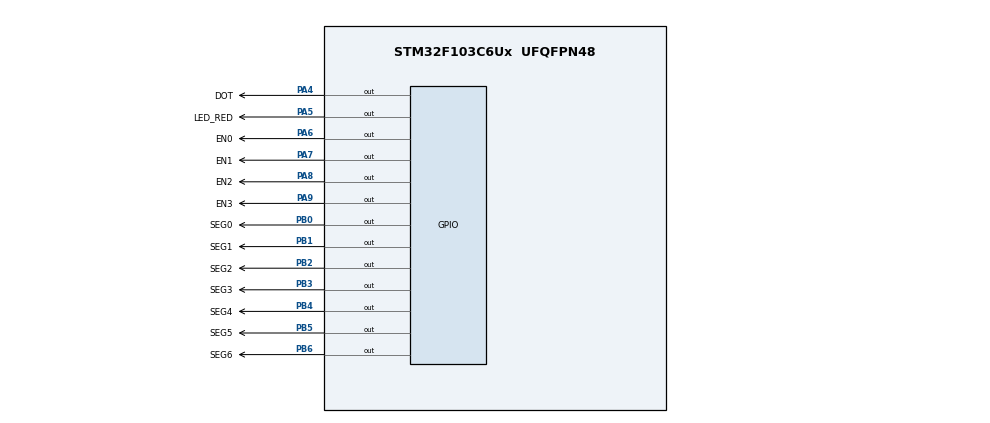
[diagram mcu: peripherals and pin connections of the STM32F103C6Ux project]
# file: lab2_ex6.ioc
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Mcu.Family=STM32F1
Mcu.Name=STM32F103C6Ux
Mcu.Package=UFQFPN48
NVIC.PriorityGroup=NVIC_PRIORITYGROUP_4
NVIC.TIM2_IRQn=true\:0\:0\:false\:false\:true\:true\:true
PA4.GPIO_Label=DOT
PA4.Signal=GPIO_Output
PA5.GPIO_Label=LED_RED
PA5.Signal=GPIO_Output
PA6.GPIO_Label=EN0
PA6.Signal=GPIO_Output
PA7.GPIO_Label=EN1
PA7.Signal=GPIO_Output
PA8.GPIO_Label=EN2
PA8.Signal=GPIO_Output
PA9.GPIO_Label=EN3
PA9.Signal=GPIO_Output
PB0.GPIO_Label=SEG0
PB0.Signal=GPIO_Output
PB1.GPIO_Label=SEG1
PB1.Signal=GPIO_Output
PB2.GPIO_Label=SEG2
PB2.Signal=GPIO_Output
PB3.GPIO_Label=SEG3
PB3.Signal=GPIO_Output
PB4.GPIO_Label=SEG4
PB4.Signal=GPIO_Output
PB5.GPIO_Label=SEG5
PB5.Signal=GPIO_Output
PB6.GPIO_Label=SEG6
PB6.Signal=GPIO_Output
ProjectManager.HeapSize=0x200
ProjectManager.StackSize=0x400
ProjectManager.TargetToolchain=STM32CubeIDE
RCC.APB1Freq_Value=8000000
RCC.APB2Freq_Value=8000000
TIM2.Period=9
TIM2.Prescaler=7999
VP_SYS_VS_ND.Mode=No_Debug
VP_TIM2_VS_ClockSourceINT.Mode=Internal
board=custom

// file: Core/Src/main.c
/* USER CODE BEGIN Header */
/**
  ******************************************************************************
  * @file           : main.c
  * @brief          : Main program body
  ******************************************************************************
  * @attention
  *
  * <h2><center>&copy; Copyright (c) 2023 STMicroelectronics.
  * All rights reserved.</center></h2>
  *
  * This software component is licensed by ST under BSD 3-Clause license,
  * the "License"; You may not use this file except in compliance with the
  * License. You may obtain a copy of the License at:
  *                        opensource.org/licenses/BSD-3-Clause
  *
  ******************************************************************************
  */
/* USER CODE END Header */
#include "main.h"

TIM_HandleTypeDef htim2;

void SystemClock_Config(void);
static void MX_GPIO_Init(void);
static void MX_TIM2_Init(void);

/* USER CODE BEGIN 0 */
void display7SEG(int num){
	  HAL_GPIO_WritePin(SEG0_GPIO_Port, SEG0_Pin, RESET);
	  HAL_GPIO_WritePin(SEG1_GPIO_Port, SEG1_Pin, RESET);
	  HAL_GPIO_WritePin(SEG2_GPIO_Port, SEG2_Pin, RESET);
	  HAL_GPIO_WritePin(SEG3_GPIO_Port, SEG3_Pin, RESET);
	  HAL_GPIO_WritePin(SEG4_GPIO_Port, SEG4_Pin, RESET);
	  HAL_GPIO_WritePin(SEG5_GPIO_Port, SEG5_Pin, RESET);
	  HAL_GPIO_WritePin(SEG6_GPIO_Port, SEG6_Pin, RESET);
	  if (num == 0 ){
		  HAL_GPIO_WritePin(SEG6_GPIO_Port, SEG6_Pin, SET);
	  }
	  else if (num == 1){
		  HAL_GPIO_WritePin(SEG0_GPIO_Port, SEG0_Pin, SET);
		  HAL_GPIO_WritePin(SEG3_GPIO_Port, SEG3_Pin, SET);
		  HAL_GPIO_WritePin(SEG4_GPIO_Port, SEG4_Pin, SET);
		  HAL_GPIO_WritePin(SEG5_GPIO_Port, SEG5_Pin, SET);
		  HAL_GPIO_WritePin(SEG6_GPIO_Port, SEG6_Pin, SET);
	  }
	  else if (num == 2){
		  HAL_GPIO_WritePin(SEG2_GPIO_Port, SEG2_Pin, SET);
		  HAL_GPIO_WritePin(SEG5_GPIO_Port, SEG5_Pin, SET);
	  }
	  else if (num == 3){
		  HAL_GPIO_WritePin(SEG4_GPIO_Port, SEG4_Pin, SET);
		  HAL_GPIO_WritePin(SEG5_GPIO_Port, SEG5_Pin, SET);
	  }
	  else if (num == 4){
		  HAL_GPIO_WritePin(SEG0_GPIO_Port, SEG0_Pin, SET);
		  HAL_GPIO_WritePin(SEG3_GPIO_Port, SEG3_Pin, SET);
		  HAL_GPIO_WritePin(SEG4_GPIO_Port, SEG4_Pin, SET);
	  }
	  else if (num == 5){
		  HAL_GPIO_WritePin(SEG1_GPIO_Port, SEG1_Pin, SET);
		  HAL_GPIO_WritePin(SEG4_GPIO_Port, SEG4_Pin, SET);
	  }
	  else if (num == 6){
		  HAL_GPIO_WritePin(SEG1_GPIO_Port, SEG1_Pin, SET);
	  }
	  else if (num == 7){
		  HAL_GPIO_WritePin(SEG3_GPIO_Port, SEG3_Pin, SET);
		  HAL_GPIO_WritePin(SEG4_GPIO_Port, SEG4_Pin, SET);
		  HAL_GPIO_WritePin(SEG5_GPIO_Port, SEG5_Pin, SET);
		  HAL_GPIO_WritePin(SEG6_GPIO_Port, SEG6_Pin, SET);
	  }
	  else if (num == 8){

	  }
	  else if (num == 9){
		  HAL_GPIO_WritePin(SEG4_GPIO_Port, SEG4_Pin, SET);
	  }
  }
//
const int MAX_LED = 4;
int index_led = 0;
int led_buffer[4] = {1 , 2 , 3 , 4};
int hour, minute, second;

void update7SEG (int index){
	HAL_GPIO_WritePin(EN0_GPIO_Port, EN0_Pin, 1);
	HAL_GPIO_WritePin(EN1_GPIO_Port, EN1_Pin, 1);
	HAL_GPIO_WritePin(EN2_GPIO_Port, EN2_Pin, 1);
	HAL_GPIO_WritePin(EN3_GPIO_Port, EN3_Pin, 1);
	switch (index){
		case 0:
			// Display the first 7 SEG with SEG1uffer [0]
			HAL_GPIO_WritePin(EN0_GPIO_Port, EN0_Pin, 0);
			display7SEG(led_buffer[0]);
			break ;
		case 1:
			// Display the second 7 SEG with SEG1uffer [1]
			HAL_GPIO_WritePin(EN1_GPIO_Port, EN1_Pin, 0);
			display7SEG(led_buffer[1]);
			break ;
		case 2:
			// Display the third 7 SEG with SEG1uffer [2]
			HAL_GPIO_WritePin(EN2_GPIO_Port, EN2_Pin, 0);
			display7SEG(led_buffer[2]);
			break ;
		case 3:
			// Display the forth 7 SEG with SEG1uffer [3]
			HAL_GPIO_WritePin(EN3_GPIO_Port, EN3_Pin, 0);
			display7SEG(led_buffer[3]);
			break ;
		default :
			break ;
	}
}

void updateClockBuffer(){
	if(hour < 10){
		led_buffer[0] = 0;
		led_buffer[1] = hour;
	}
	if(hour >= 10){
		led_buffer[0] = hour/10;
		led_buffer[1] = hour%10;
	}
	if(minute < 10){
		led_buffer[2] = 0;
		led_buffer[3] = minute;
	}
	if(minute >= 10){
		led_buffer[2] = minute/10;
		led_buffer[3] = minute%10;
	}
}

//software timer
int timer0_counter = 0;
int timer0_flag = 0;
int TIMER_CYCLE = 10;
void setTimer0(int duration){
	timer0_counter = duration /TIMER_CYCLE;
	timer0_flag = 0;
}
void timer_run(){
	if(timer0_counter > 0){
		timer0_counter--;
		if(timer0_counter == 0) timer0_flag = 1;
	}
}
/* USER CODE END 0 */

int main(void)
{

  /* MCU Configuration--------------------------------------------------------*/

  /* Reset of all peripherals, Initializes the Flash interface and the Systick. */
  HAL_Init();

  /* Configure the system clock */
  SystemClock_Config();

  /* Initialize all configured peripherals */
  MX_GPIO_Init();
  MX_TIM2_Init();
  /* USER CODE BEGIN 2 */
  HAL_TIM_Base_Start_IT(&htim2);
  /* USER CODE END 2 */

  /* Infinite loop */
  /* USER CODE BEGIN WHILE */
  hour = 15;
  minute = 8;
  second = 50;
  setTimer0(1000);
  while (1)
  {
    /* USER CODE END WHILE */
	  if(timer0_flag == 1){
	      HAL_GPIO_TogglePin(LED_RED_GPIO_Port, LED_RED_Pin);
	      setTimer0(2000);
	  }
	  second++;
	  if(second >= 60){
		  second = 0;
		  minute++;
	  }
	  if(minute >= 60){
		  minute = 0;
		  hour++;
	  }
	  if(hour >= 24){
		  hour = 0;
	  }
	  updateClockBuffer();
	  HAL_Delay(1000);
  }
}

void SystemClock_Config(void)
{
  RCC_OscInitTypeDef RCC_OscInitStruct = {0};
  RCC_ClkInitTypeDef RCC_ClkInitStruct = {0};

  /** Initializes the RCC Oscillators according to the specified parameters
  * in the RCC_OscInitTypeDef structure.
  */
  RCC_OscInitStruct.OscillatorType = RCC_OSCILLATORTYPE_HSI;
  RCC_OscInitStruct.HSIState = RCC_HSI_ON;
  RCC_OscInitStruct.HSICalibrationValue = RCC_HSICALIBRATION_DEFAULT;
  RCC_OscInitStruct.PLL.PLLState = RCC_PLL_NONE;
  if (HAL_RCC_OscConfig(&RCC_OscInitStruct) != HAL_OK)
  {
    Error_Handler();
  }
  /** Initializes the CPU, AHB and APB buses clocks
  */
  RCC_ClkInitStruct.ClockType = RCC_CLOCKTYPE_HCLK|RCC_CLOCKTYPE_SYSCLK
                              |RCC_CLOCKTYPE_PCLK1|RCC_CLOCKTYPE_PCLK2;
  RCC_ClkInitStruct.SYSCLKSource = RCC_SYSCLKSOURCE_HSI;
  RCC_ClkInitStruct.AHBCLKDivider = RCC_SYSCLK_DIV1;
  RCC_ClkInitStruct.APB1CLKDivider = RCC_HCLK_DIV1;
  RCC_ClkInitStruct.APB2CLKDivider = RCC_HCLK_DIV1;

  if (HAL_RCC_ClockConfig(&RCC_ClkInitStruct, FLASH_LATENCY_0) != HAL_OK)
  {
    Error_Handler();
  }
}

static void MX_TIM2_Init(void)
{

  TIM_ClockConfigTypeDef sClockSourceConfig = {0};
  TIM_MasterConfigTypeDef sMasterConfig = {0};

  htim2.Instance = TIM2;
  htim2.Init.Prescaler = 7999;
  htim2.Init.CounterMode = TIM_COUNTERMODE_UP;
  htim2.Init.Period = 9;
  htim2.Init.ClockDivision = TIM_CLOCKDIVISION_DIV1;
  htim2.Init.AutoReloadPreload = TIM_AUTORELOAD_PRELOAD_DISABLE;
  if (HAL_TIM_Base_Init(&htim2) != HAL_OK)
  {
    Error_Handler();
  }
  sClockSourceConfig.ClockSource = TIM_CLOCKSOURCE_INTERNAL;
  if (HAL_TIM_ConfigClockSource(&htim2, &sClockSourceConfig) != HAL_OK)
  {
    Error_Handler();
  }
  sMasterConfig.MasterOutputTrigger = TIM_TRGO_RESET;
  sMasterConfig.MasterSlaveMode = TIM_MASTERSLAVEMODE_DISABLE;
  if (HAL_TIMEx_MasterConfigSynchronization(&htim2, &sMasterConfig) != HAL_OK)
  {
    Error_Handler();
  }

}

static void MX_GPIO_Init(void)
{
  GPIO_InitTypeDef GPIO_InitStruct = {0};

  /* GPIO Ports Clock Enable */
  __HAL_RCC_GPIOA_CLK_ENABLE();
  __HAL_RCC_GPIOB_CLK_ENABLE();

  /*Configure GPIO pin Output Level */
  HAL_GPIO_WritePin(GPIOA, DOT_Pin|LED_RED_Pin|EN0_Pin|EN1_Pin
                          |EN2_Pin|EN3_Pin, GPIO_PIN_RESET);

  /*Configure GPIO pin Output Level */
  HAL_GPIO_WritePin(GPIOB, SEG0_Pin|SEG1_Pin|SEG2_Pin|SEG3_Pin
                          |SEG4_Pin|SEG5_Pin|SEG6_Pin, GPIO_PIN_RESET);

  /*Configure GPIO pins : DOT_Pin LED_RED_Pin EN0_Pin EN1_Pin
                           EN2_Pin EN3_Pin */
  GPIO_InitStruct.Pin = DOT_Pin|LED_RED_Pin|EN0_Pin|EN1_Pin
                          |EN2_Pin|EN3_Pin;
  GPIO_InitStruct.Mode = GPIO_MODE_OUTPUT_PP;
  GPIO_InitStruct.Pull = GPIO_NOPULL;
  GPIO_InitStruct.Speed = GPIO_SPEED_FREQ_LOW;
  HAL_GPIO_Init(GPIOA, &GPIO_InitStruct);

  /*Configure GPIO pins : SEG0_Pin SEG1_Pin SEG2_Pin SEG3_Pin
                           SEG4_Pin SEG5_Pin SEG6_Pin */
  GPIO_InitStruct.Pin = SEG0_Pin|SEG1_Pin|SEG2_Pin|SEG3_Pin
                          |SEG4_Pin|SEG5_Pin|SEG6_Pin;
  GPIO_InitStruct.Mode = GPIO_MODE_OUTPUT_PP;
  GPIO_InitStruct.Pull = GPIO_NOPULL;
  GPIO_InitStruct.Speed = GPIO_SPEED_FREQ_LOW;
  HAL_GPIO_Init(GPIOB, &GPIO_InitStruct);

}

/* USER CODE BEGIN 4 */
int led_red_counter = 100;
int led7_counter = 25;

void HAL_TIM_PeriodElapsedCallback(TIM_HandleTypeDef *htim){
	//software timer
	timer_run();
	//LED RED AND DOT
	if(led_red_counter > 0){
		led_red_counter--;
		if(led_red_counter <= 0){
			led_red_counter = 100;
			//TODO
//			HAL_GPIO_TogglePin(LED_RED_GPIO_Port, LED_RED_Pin);
			HAL_GPIO_TogglePin(DOT_GPIO_Port, DOT_Pin);
		}
	}
	// LED 7 SEGMENT
	if(led7_counter > 0){
		led7_counter--;
		if(led7_counter <= 0){
			led7_counter = 25;
			//TODO
			if(index_led >= MAX_LED){
				index_led = 0;
			}
			update7SEG(index_led++);
		}
	}
}
/* USER CODE END 4 */

void Error_Handler(void)
{
  __disable_irq();
  while (1)
  {
  }
}

/************************ (C) COPYRIGHT STMicroelectronics *****END OF FILE****/
